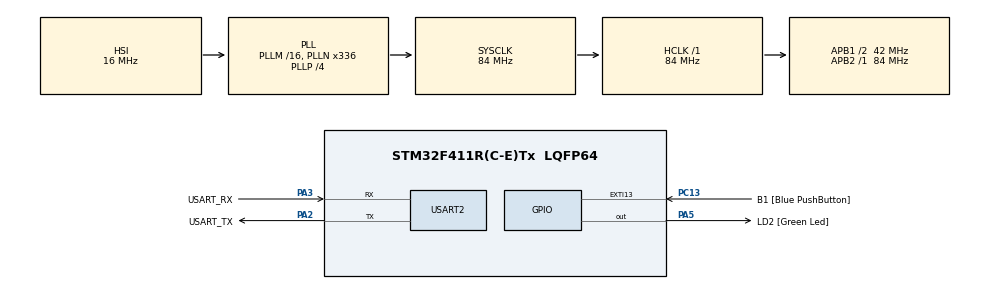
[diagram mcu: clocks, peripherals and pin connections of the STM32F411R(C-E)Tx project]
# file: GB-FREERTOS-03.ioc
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FREERTOS.Queues01=delayQueue,8,uint32_t,0,Dynamic,NULL,NULL
FREERTOS.Tasks01=buttonTask,0,128,StartButtonTask,Default,NULL,Dynamic,NULL,NULL;ledTask,0,128,StartLedTask,Default,NULL,Dynamic,NULL,NULL
FREERTOS.configUSE_NEWLIB_REENTRANT=1
Mcu.Family=STM32F4
Mcu.Name=STM32F411R(C-E)Tx
Mcu.Package=LQFP64
NVIC.PriorityGroup=NVIC_PRIORITYGROUP_4
NVIC.TIM2_IRQn=true\:15\:0\:false\:false\:true\:false\:false\:true
NVIC.TimeBase=TIM2_IRQn
NVIC.TimeBaseIP=TIM2
PA13.GPIO_Label=TMS
PA13.Mode=Serial_Wire
PA13.Signal=SYS_JTMS-SWDIO
PA14.GPIO_Label=TCK
PA14.Mode=Serial_Wire
PA14.Signal=SYS_JTCK-SWCLK
PA2.GPIO_Label=USART_TX
PA2.Mode=Asynchronous
PA2.Signal=USART2_TX
PA3.GPIO_Label=USART_RX
PA3.Mode=Asynchronous
PA3.Signal=USART2_RX
PA5.GPIO_Label=LD2 [Green Led]
PA5.Signal=GPIO_Output
PB3.GPIO_Label=SWO
PB3.Signal=SYS_JTDO-SWO
PC13-ANTI_TAMP.GPIO_Label=B1 [Blue PushButton]
PC13-ANTI_TAMP.GPIO_ModeDefaultEXTI=GPIO_MODE_IT_FALLING
PC13-ANTI_TAMP.GPIO_PuPd=GPIO_PULLUP
PC13-ANTI_TAMP.Signal=GPXTI13
PC14-OSC32_IN.Mode=LSE-External-Oscillator
PC14-OSC32_IN.Signal=RCC_OSC32_IN
PC15-OSC32_OUT.Mode=LSE-External-Oscillator
PC15-OSC32_OUT.Signal=RCC_OSC32_OUT
PH0\ -\ OSC_IN.Mode=HSE-External-Clock-Source
PH0\ -\ OSC_IN.Signal=RCC_OSC_IN
PH1\ -\ OSC_OUT.Mode=HSE-External-Clock-Source
PH1\ -\ OSC_OUT.Signal=RCC_OSC_OUT
ProjectManager.HeapSize=0x200
ProjectManager.StackSize=0x400
ProjectManager.TargetToolchain=STM32CubeIDE
RCC.48MHZClocksFreq_Value=84000000
RCC.AHBFreq_Value=84000000
RCC.APB1CLKDivider=RCC_HCLK_DIV2
RCC.APB1Freq_Value=42000000
RCC.APB1TimFreq_Value=84000000
RCC.APB2Freq_Value=84000000
RCC.APB2TimFreq_Value=84000000
RCC.CortexFreq_Value=84000000
RCC.FLatency-AdvancedSettings=FLASH_LATENCY_2
RCC.HCLKFreq_Value=84000000
RCC.HSE_VALUE=8000000
RCC.HSI_VALUE=16000000
RCC.PLLN=336
RCC.PLLP=RCC_PLLP_DIV4
RCC.SYSCLKFreq_VALUE=84000000
RCC.SYSCLKSource=RCC_SYSCLKSOURCE_PLLCLK
RCC.VCOOutputFreq_Value=336000000
USART2.VirtualMode=VM_ASYNC
VP_FREERTOS_VS_CMSIS_V1.Mode=CMSIS_V1
VP_SYS_VS_tim2.Mode=TIM2
board=NUCLEO-F411RE

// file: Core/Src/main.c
/* USER CODE BEGIN Header */
/**
  ******************************************************************************
  * @file           : main.c
  * @brief          : Main program body
  ******************************************************************************
  * @attention
  *
  * <h2><center>&copy; Copyright (c) 2021 STMicroelectronics.
  * All rights reserved.</center></h2>
  *
  * This software component is licensed by ST under BSD 3-Clause license,
  * the "License"; You may not use this file except in compliance with the
  * License. You may obtain a copy of the License at:
  *                        opensource.org/licenses/BSD-3-Clause
  *
  ******************************************************************************
  */
/* USER CODE END Header */
#include "main.h"
#include "cmsis_os.h"

UART_HandleTypeDef huart2;

osThreadId buttonTaskHandle;
osThreadId ledTaskHandle;
osMessageQId delayQueueHandle;

void SystemClock_Config(void);
static void MX_GPIO_Init(void);
static void MX_USART2_UART_Init(void);
void StartButtonTask(void const * argument);
void StartLedTask(void const * argument);

int main(void)
{

  /* MCU Configuration--------------------------------------------------------*/

  /* Reset of all peripherals, Initializes the Flash interface and the Systick. */
  HAL_Init();

  /* Configure the system clock */
  SystemClock_Config();

  /* Initialize all configured peripherals */
  MX_GPIO_Init();
  MX_USART2_UART_Init();

  /* Create the queue(s) */
  /* definition and creation of delayQueue */
  osMessageQDef(delayQueue, 8, uint32_t);
  delayQueueHandle = osMessageCreate(osMessageQ(delayQueue), NULL);

  /* Create the thread(s) */
  /* definition and creation of buttonTask */
  osThreadDef(buttonTask, StartButtonTask, osPriorityNormal, 0, 128);
  buttonTaskHandle = osThreadCreate(osThread(buttonTask), NULL);

  /* definition and creation of ledTask */
  osThreadDef(ledTask, StartLedTask, osPriorityNormal, 0, 128);
  ledTaskHandle = osThreadCreate(osThread(ledTask), NULL);

  /* Start scheduler */
  osKernelStart();

  /* We should never get here as control is now taken by the scheduler */
  /* Infinite loop */
  while (1)
  {

  }
}

void SystemClock_Config(void)
{
  RCC_OscInitTypeDef RCC_OscInitStruct = {0};
  RCC_ClkInitTypeDef RCC_ClkInitStruct = {0};

  /** Configure the main internal regulator output voltage
  */
  __HAL_RCC_PWR_CLK_ENABLE();
  __HAL_PWR_VOLTAGESCALING_CONFIG(PWR_REGULATOR_VOLTAGE_SCALE1);
  /** Initializes the RCC Oscillators according to the specified parameters
  * in the RCC_OscInitTypeDef structure.
  */
  RCC_OscInitStruct.OscillatorType = RCC_OSCILLATORTYPE_HSI;
  RCC_OscInitStruct.HSIState = RCC_HSI_ON;
  RCC_OscInitStruct.HSICalibrationValue = RCC_HSICALIBRATION_DEFAULT;
  RCC_OscInitStruct.PLL.PLLState = RCC_PLL_ON;
  RCC_OscInitStruct.PLL.PLLSource = RCC_PLLSOURCE_HSI;
  RCC_OscInitStruct.PLL.PLLM = 16;
  RCC_OscInitStruct.PLL.PLLN = 336;
  RCC_OscInitStruct.PLL.PLLP = RCC_PLLP_DIV4;
  RCC_OscInitStruct.PLL.PLLQ = 4;
  if (HAL_RCC_OscConfig(&RCC_OscInitStruct) != HAL_OK)
  {
    Error_Handler();
  }
  /** Initializes the CPU, AHB and APB buses clocks
  */
  RCC_ClkInitStruct.ClockType = RCC_CLOCKTYPE_HCLK|RCC_CLOCKTYPE_SYSCLK
                              |RCC_CLOCKTYPE_PCLK1|RCC_CLOCKTYPE_PCLK2;
  RCC_ClkInitStruct.SYSCLKSource = RCC_SYSCLKSOURCE_PLLCLK;
  RCC_ClkInitStruct.AHBCLKDivider = RCC_SYSCLK_DIV1;
  RCC_ClkInitStruct.APB1CLKDivider = RCC_HCLK_DIV2;
  RCC_ClkInitStruct.APB2CLKDivider = RCC_HCLK_DIV1;

  if (HAL_RCC_ClockConfig(&RCC_ClkInitStruct, FLASH_LATENCY_2) != HAL_OK)
  {
    Error_Handler();
  }
}

static void MX_USART2_UART_Init(void)
{

  huart2.Instance = USART2;
  huart2.Init.BaudRate = 115200;
  huart2.Init.WordLength = UART_WORDLENGTH_8B;
  huart2.Init.StopBits = UART_STOPBITS_1;
  huart2.Init.Parity = UART_PARITY_NONE;
  huart2.Init.Mode = UART_MODE_TX_RX;
  huart2.Init.HwFlowCtl = UART_HWCONTROL_NONE;
  huart2.Init.OverSampling = UART_OVERSAMPLING_16;
  if (HAL_UART_Init(&huart2) != HAL_OK)
  {
    Error_Handler();
  }

}

static void MX_GPIO_Init(void)
{
  GPIO_InitTypeDef GPIO_InitStruct = {0};

  /* GPIO Ports Clock Enable */
  __HAL_RCC_GPIOC_CLK_ENABLE();
  __HAL_RCC_GPIOH_CLK_ENABLE();
  __HAL_RCC_GPIOA_CLK_ENABLE();
  __HAL_RCC_GPIOB_CLK_ENABLE();

  /*Configure GPIO pin Output Level */
  HAL_GPIO_WritePin(LD2_GPIO_Port, LD2_Pin, GPIO_PIN_RESET);

  /*Configure GPIO pin : B1_Pin */
  GPIO_InitStruct.Pin = B1_Pin;
  GPIO_InitStruct.Mode = GPIO_MODE_IT_FALLING;
  GPIO_InitStruct.Pull = GPIO_PULLUP;
  HAL_GPIO_Init(B1_GPIO_Port, &GPIO_InitStruct);

  /*Configure GPIO pin : LD2_Pin */
  GPIO_InitStruct.Pin = LD2_Pin;
  GPIO_InitStruct.Mode = GPIO_MODE_OUTPUT_PP;
  GPIO_InitStruct.Pull = GPIO_NOPULL;
  GPIO_InitStruct.Speed = GPIO_SPEED_FREQ_LOW;
  HAL_GPIO_Init(LD2_GPIO_Port, &GPIO_InitStruct);

}

void StartButtonTask(void const * argument)
{
  /* USER CODE BEGIN 5 */
  uint8_t switch_blink_speed = 0;
  uint32_t blink_delay;
  uint8_t flag_key_press = 1;
  uint32_t time_key_press = 0;
  /* Infinite loop */
  for(;;)
  {
	if (HAL_GPIO_ReadPin(B1_GPIO_Port, B1_Pin) == GPIO_PIN_RESET && flag_key_press) {
		flag_key_press = 0;
		if (switch_blink_speed == 0) {
			switch_blink_speed = 1;
			blink_delay = 50;

		} else if (switch_blink_speed == 1) {
			switch_blink_speed = 0;
			blink_delay = 1000;
		}
		osMessagePut(delayQueueHandle, blink_delay, 100);
		time_key_press = HAL_GetTick();
	}

	if (!flag_key_press && (HAL_GetTick() - time_key_press) > 300) {
		flag_key_press = 1;
	}

	osDelay(1);
  }
  /* USER CODE END 5 */
}

void StartLedTask(void const * argument)
{
  /* USER CODE BEGIN StartLedTask */
  osEvent event;
  uint32_t delay_ms = 1000;
  /* Infinite loop */
  for(;;)
  {
	event = osMessageGet(delayQueueHandle, 1);
	if (event.status == osEventMessage) {
		delay_ms = event.value.v;
	}
	HAL_GPIO_TogglePin(LD2_GPIO_Port, LD2_Pin);
	osDelay(delay_ms);

  }
  /* USER CODE END StartLedTask */
}

void HAL_TIM_PeriodElapsedCallback(TIM_HandleTypeDef *htim)
{
  if (htim->Instance == TIM2) {
    HAL_IncTick();
  }
}

void Error_Handler(void)
{
  __disable_irq();
  while (1)
  {
  }
}

/************************ (C) COPYRIGHT STMicroelectronics *****END OF FILE****/
